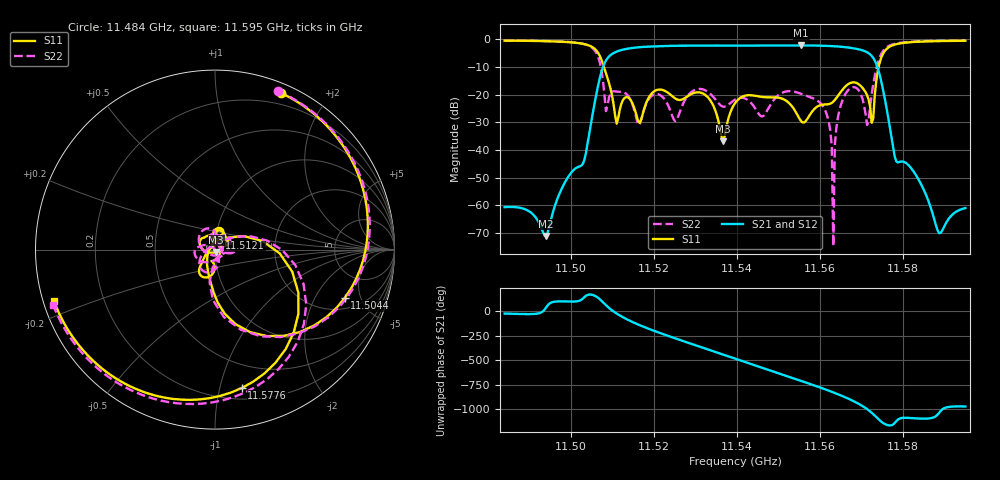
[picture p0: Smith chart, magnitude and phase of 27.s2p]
! Created with skrf 1.8.0 (http://scikit-rf.org).
# Hz S RI R 50.0
!freq ReS11 ImS11 ReS21 ImS21 ReS12 ImS12 ReS22 ImS22
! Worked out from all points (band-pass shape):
!   301 points, 11.484 GHz to 11.595 GHz, reference 50 ohm
!   highest |S21| = -2.19 dB at 11.5554 GHz (marker M1); lowest = -71.1 dB at 11.494 GHz (marker M2)
!   |S21| within 3 dB of the highest: 11.51 GHz to 11.5718 GHz (61.82 MHz wide, 0.536 % of centre)
!   lowest |S11| = -36.8 dB at 11.5365 GHz (marker M3), VSWR 1.03, Z = 50.6 - j1.32 ohm
!   |S11| at or under -10 dB: 11.5079 GHz to 11.5741 GHz (66.19 MHz wide, 0.573 % of centre)
!   |S22| runs from -74.7 to -0.4 dB; largest |S21 - S12| = 0.01
!   S11 on the Smith chart (normalised r, x): 11.484 GHz: 0.09, +1.50; 11.5044 GHz: 2.71, -3.61; 11.5121 GHz: 1.04, +0.13; 11.5776 GHz: 0.29, -1.17; 11.595 GHz: 0.03, -0.16
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1.1484e10  0.3667 0.8725  0.000844 -0.000387  0.000839 -0.000364  0.3526 0.8828
1.149399e10  0.6647 0.6432  0.000221 0.00017  0.000216 0.000175  0.6656 0.6503
1.15025e10  0.8377 -0.00744  -0.00236 0.00467  -0.00243 0.00469  0.8412 -0.0407
1.150435e10  0.723 -0.2697  -0.0185 0.00357  -0.0188 0.00354  0.6892 -0.3234
1.151212e10  0.0256 0.0632  0.3827 -0.5129  0.3813 -0.5154  0.112 -0.00786
1.1521e10  0.0236 0.1209  -0.602 0.4442  -0.5993 0.4455  0.0824 0.0593
1.152988e10  0.0212 0.1067  0.745 0.1789  0.7385 0.1719  -0.0797 0.093
1.153654e10  0.00624 -0.013  0.105 -0.7632  0.1024 -0.76  -0.0108 0.06
1.15395e10  -0.0699 0.0024  -0.4407 -0.6289  -0.4411 -0.6233  -0.0307 0.0752
1.154875e10  -0.0543 0.0712  -0.165 0.7554  -0.1572 0.7551  -0.0352 -0.0705
1.155541e10  0.0309 0.0125  0.7692 0.1103  0.7612 0.1066  -0.1035 0.00816
1.1558e10  0.0124 -0.0469  0.6741 -0.3798  0.6687 -0.3776  -0.0862 0.0173
1.156244e10  -0.0151 -0.0669  -0.092 -0.7499  -0.0931 -0.7456  -0.0174 0.0146
1.156281e10  -0.0122 -0.07  -0.169 -0.7341  -0.1694 -0.7297  -0.00849 0.00829
1.156318e10  -0.00912 -0.0743  -0.2444 -0.7098  -0.2444 -0.7056  9.82e-06 0.000183
1.156355e10  -0.00619 -0.0798  -0.3175 -0.6773  -0.3168 -0.6732  0.00774 -0.0096
1.156466e10  -0.00206 -0.1036  -0.5125 -0.5312  -0.5107 -0.5282  0.0218 -0.0478
1.157243e10  -0.0311 0.00159  0.3665 0.3407  0.3647 0.3408  0.0807 0.0629
1.15765e10  0.338 -0.6292  0.00289 -0.0351  0.00279 -0.0357  0.3531 -0.6664
1.157761e10  0.1495 -0.771  0.00259 -0.0103  0.00252 -0.0105  0.1634 -0.7979
1.158871e10  -0.774 -0.5129  0.000223 0.00022  0.000225 0.000213  -0.7729 -0.5367
1.1595e10  -0.8969 -0.2862  -0.000265 0.000853  -0.000243 0.000851  -0.9013 -0.3092
